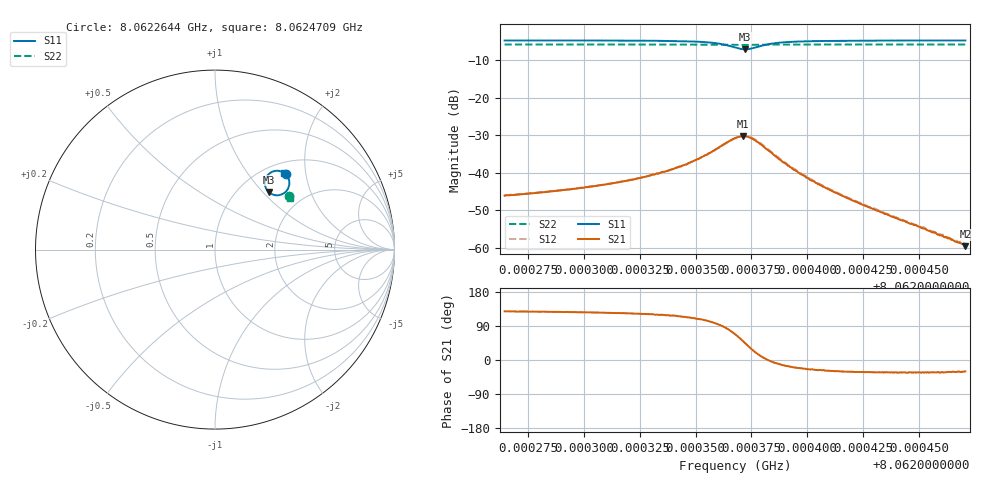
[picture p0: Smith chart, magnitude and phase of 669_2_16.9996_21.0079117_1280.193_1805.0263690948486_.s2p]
#  HZ  S  RI  R  50.00
! Rohde & Schwarz Vector Network Analyzer
! Rohde-Schwarz,ZNB20-2Port,1311601062101988,3.16
! Created: UTC 3/20/2024, 11:22:05 PM
! freq[Hz]  re:S11  im:S11  re:S21  im:S21  re:S12  im:S12  re:S22  im:S22
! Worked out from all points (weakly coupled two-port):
!   401 points, 8.0622644 GHz to 8.0624709 GHz, reference 50 ohm
!   highest |S21| = -30.31 dB at 8.0623712 GHz (marker M1); lowest = -59.6 dB at 8.0624709 GHz (marker M2)
!   lowest |S11| = -7.2 dB at 8.0623723 GHz (marker M3), VSWR 2.56, Z = 67.7 + j54 ohm
!   |S11| at or under -10 dB: nowhere
!   |S22| runs from -6.0 to -5.9 dB; largest |S21 - S12| = 0.0011
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8.06226437e9  0.3954 0.4186  -0.00306 0.00385  -0.00284 0.00406  0.4131 0.2968
8.06228296e9  0.3982 0.4154  -0.00334 0.00437  -0.00309 0.00463  0.414 0.2959
8.06229896e9  0.4009 0.4117  -0.00367 0.00505  -0.00339 0.0053  0.4145 0.2949
8.06231858e9  0.4053 0.4049  -0.00425 0.00646  -0.00385 0.00672  0.4152 0.2936
8.06233355e9  0.4098 0.395  -0.00479 0.00852  -0.00429 0.00879  0.4157 0.2923
8.0623413e9  0.4124 0.3865  -0.00519 0.0104  -0.00448 0.0107  0.4161 0.2915
8.06234543e9  0.4138 0.38  -0.00514 0.0117  -0.00444 0.0119  0.4161 0.291
8.06235059e9  0.4143 0.369  -0.00487 0.0141  -0.00409 0.0144  0.4161 0.2903
8.06236091e9  0.4011 0.3305  -0.000813 0.0221  0.000164 0.0219  0.4153 0.2885
8.06236762e9  0.3521 0.3026  0.0106 0.0267  0.0113 0.0262  0.4133 0.2873
8.06237124e9  0.3089 0.3132  0.0198 0.0232  0.0204 0.0229  0.4115 0.2881
8.06237227e9  0.2981 0.3218  0.022 0.021  0.0225 0.0207  0.4113 0.2885
8.06237434e9  0.2829 0.3444  0.0247 0.0156  0.0255 0.0155  0.4109 0.2897
8.0623764e9  0.2774 0.3688  0.0252 0.0101  0.026 0.00986  0.4108 0.2906
8.06238001e9  0.2856 0.4033  0.0225 0.00292  0.0232 0.0021  0.4117 0.2919
8.06238363e9  0.3016 0.4231  0.0187 -0.00112  0.0191 -0.00184  0.4129 0.2925
8.0623924e9  0.3339 0.4381  0.0112 -0.00358  0.0113 -0.0043  0.4149 0.2924
8.06240221e9  0.3535 0.4388  0.00707 -0.0032  0.00707 -0.00381  0.4161 0.2917
8.06241615e9  0.3676 0.4357  0.00416 -0.00244  0.00407 -0.0027  0.4172 0.2905
8.0624368e9  0.3778 0.4313  0.00226 -0.00145  0.00219 -0.00164  0.4183 0.2892
8.06246313e9  0.3847 0.4273  0.00113 -0.000686  0.00112 -0.000782  0.4193 0.2877
8.06247087e9  0.3863 0.4263  0.000904 -0.000522  0.000913 -0.000615  0.4196 0.2873
